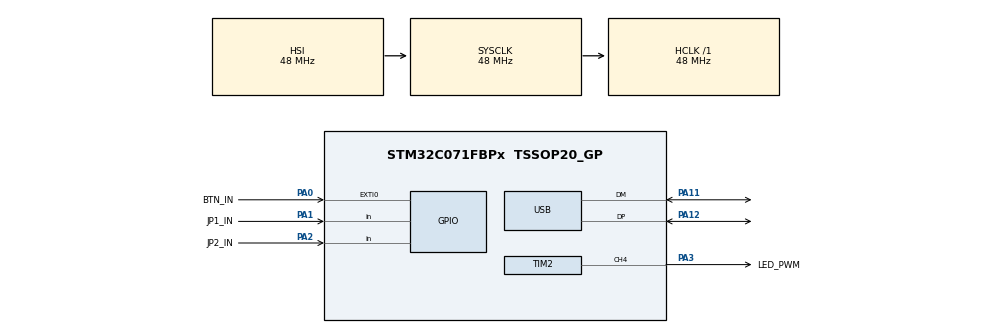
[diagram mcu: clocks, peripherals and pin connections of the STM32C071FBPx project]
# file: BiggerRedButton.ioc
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Mcu.Family=STM32C0
Mcu.Name=STM32C071FBPx
Mcu.Package=TSSOP20_GP
NVIC.EXTI0_1_IRQn=true\:0\:0\:false\:false\:true\:true\:true\:true
NVIC.USB_DRD_FS_IRQn=true\:0\:0\:false\:false\:true\:true\:true\:true
PA0.GPIO_Label=BTN_IN
PA0.GPIO_ModeDefaultEXTI=GPIO_MODE_IT_FALLING
PA0.GPIO_PuPd=GPIO_PULLUP
PA0.Signal=GPXTI0
PA1.GPIO_Label=JP1_IN
PA1.GPIO_PuPd=GPIO_PULLUP
PA1.Signal=GPIO_Input
PA11\ [PA9].Mode=Device
PA11\ [PA9].Signal=USB_DM
PA12\ [PA10].Mode=Device
PA12\ [PA10].Signal=USB_DP
PA13.Mode=Serial_Wire
PA13.Signal=DEBUG_SWDIO
PA14-BOOT0.Mode=Serial_Wire
PA14-BOOT0.Signal=DEBUG_SWCLK
PA14-BOOT0__PA15.StandardMode=true
PA2.GPIO_Label=JP2_IN
PA2.GPIO_PuPd=GPIO_PULLUP
PA2.Signal=GPIO_Input
PA3.GPIO_Label=LED_PWM
PA3.Signal=S_TIM2_CH4
PB3__PB4__PB5__PB6.StandardMode=true
PB7__PB8.StandardMode=true
ProjectManager.HeapSize=0x200
ProjectManager.StackSize=0x400
ProjectManager.TargetToolchain=CMake
RCC.ADCFreq_Value=48000000
RCC.AHBFreq_Value=48000000
RCC.CortexFreq_Value=48000000
RCC.EXTERNAL_CLOCK_VALUE=12288000
RCC.HCLKFreq_Value=48000000
RCC.HSE_VALUE=8000000
RCC.HSI48_VALUE=48000000
RCC.HSISYSCLKDivider=RCC_HSI_DIV1
RCC.HSI_VALUE=48000000
RCC.LSE_VALUE=32768
RCC.SYSCLKFreq_VALUE=48000000
SH.S_TIM2_CH4.0=TIM2_CH4,PWM Generation4 CH4
TIM2.Channel-PWM\ Generation4\ CH4=TIM_CHANNEL_4
TIM2.Period=96000
USB.VirtualMode=Device_Only
USBX.BSP.number=1
USBX.Core_System=1
USBX.USBD_PRODUCT_STRING=Big Red Button
USBX.USBX_DEVICE_SYS_SIZE=5*1024
USBX.UX_DEVICE_APP_MEM_POOL_SIZE_STANDALONE=5*1024
USBX.UX_DEVICE_HID_CORE=1
USBX.UX_DEVICE_HID_KEYBOARD=1
USBX.UX_Device_Controller=1
USBX.UX_Device_CoreStack=1
USBX0.BSP.STBoard=false
USBX0.BSP.api=Unknown
USBX0.BSP.instance=USB
USBX0.BSP.ip=USB
USBX0.BSP.mode=Device_Only
USBX0.BSP.name=USB_Device
USBX0.BSP.solution=USB
VP_TIM2_VS_ClockSourceINT.Mode=Internal
VP_USBX_Core_System.Mode=Core_System
VP_USBX_UX\ Device\ Controller_FS.Mode=UX_Device_Controller_FS
VP_USBX_UX\ Device\ CoreStack_FS.Mode=UX_Device_CoreStack_FS
VP_USBX_UX\ Device\ HID_CORE_FS.Mode=UX_Device_class_HID_CORE_FS
VP_USBX_UX\ Device\ HID_KEYBOARD_FS.Mode=UX_Device_class_HID_KEYBOARD_FS
board=custom

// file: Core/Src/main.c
/* USER CODE BEGIN Header */
/**
  ******************************************************************************
  * @file           : main.c
  * @brief          : Main program body
  ******************************************************************************
  * @attention
  *
  * Copyright (c) 2025 STMicroelectronics.
  * All rights reserved.
  *
  * This software is licensed under terms that can be found in the LICENSE file
  * in the root directory of this software component.
  * If no LICENSE file comes with this software, it is provided AS-IS.
  *
  ******************************************************************************
  */
/* USER CODE END Header */
#include "main.h"
#include "app_usbx_device.h"

TIM_HandleTypeDef htim2;

PCD_HandleTypeDef hpcd_USB_DRD_FS;

/* USER CODE BEGIN PV */
int button_pressed = 0;
/* USER CODE END PV */

void SystemClock_Config(void);
static void MX_GPIO_Init(void);
static void MX_TIM2_Init(void);
static void MX_USB_PCD_Init(void);

int main(void)
{

  /* MCU Configuration--------------------------------------------------------*/

  /* Reset of all peripherals, Initializes the Flash interface and the Systick. */
  HAL_Init();

  /* Configure the system clock */
  SystemClock_Config();

  /* Initialize all configured peripherals */
  MX_GPIO_Init();
  MX_TIM2_Init();
  MX_USB_PCD_Init();
  MX_USBX_Device_Init();
  /* USER CODE BEGIN 2 */

  const uint32_t timer_arr = __HAL_TIM_GET_AUTORELOAD(&htim2);

  // Default brightness is 2%
  const uint32_t inactive_brightness = timer_arr / 50;
  // Blink from 10% to 100%
  const uint32_t blink_low_brightness = timer_arr / 10;
  const uint32_t blink_high_brightness = timer_arr;

  __HAL_TIM_SET_COMPARE(&htim2, TIM_CHANNEL_4, inactive_brightness);

  if (HAL_TIM_PWM_Start(&htim2, TIM_CHANNEL_4) != HAL_OK) {
    Error_Handler();
  }

  UX_SLAVE_DEVICE *device;
  device = &_ux_system_slave->ux_system_slave_device;

  UX_SLAVE_CLASS_HID_EVENT hid_event;
  ux_utility_memory_set(&hid_event, 0, sizeof(UX_SLAVE_CLASS_HID_EVENT));

  // Report size is 8 bytes: modifier, reserved, and 6 keycode bytes.
  hid_event.ux_device_class_hid_event_length = 8;
  const size_t keycode_offset = 2;
  /* USER CODE END 2 */

  /* Infinite loop */
  while (1)
  {

    /* USER CODE BEGIN 3 */
    HAL_PWR_EnterSLEEPMode(PWR_MAINREGULATOR_ON, PWR_SLEEPENTRY_WFI);

    // Some event occured.
    // Button interrupt handler will set the flag.
    if (button_pressed) {
      button_pressed = 0;

      int num_blinks = 3;
      uint32_t blink_time_ms = 500;

      if ((device->ux_slave_device_state == UX_DEVICE_CONFIGURED) && (keyboard_instance != UX_NULL)) {
        // Press Enter
        hid_event.ux_device_class_hid_event_buffer[keycode_offset] = 0x28;
        ux_device_class_hid_event_set(keyboard_instance, &hid_event);

        // Hold Enter key for 50 milliseconds
        HAL_Delay(50);

        // Release Enter key
        hid_event.ux_device_class_hid_event_buffer[keycode_offset] = 0;
        ux_device_class_hid_event_set(keyboard_instance, &hid_event);
      } else {
        // Report USB error by 10 fast blinks
        num_blinks = 10;
        blink_time_ms = 200;
      }

      // Blink LED high to low brightness
      const uint32_t num_blink_steps = 100;

      for (int blink = 0; blink < num_blinks; blink++) {
        for (uint32_t i = 0; i < num_blink_steps; i++) {
          uint32_t brightness =
              blink_high_brightness -
              (blink_high_brightness - blink_low_brightness) * i / num_blink_steps;

          __HAL_TIM_SET_COMPARE(&htim2, TIM_CHANNEL_4, brightness);

          HAL_Delay(blink_time_ms / num_blink_steps);
        }
      }

      __HAL_TIM_SET_COMPARE(&htim2, TIM_CHANNEL_4, inactive_brightness);
    }
  }
  /* USER CODE END 3 */
}

void SystemClock_Config(void)
{
  RCC_OscInitTypeDef RCC_OscInitStruct = {0};
  RCC_ClkInitTypeDef RCC_ClkInitStruct = {0};

  __HAL_FLASH_SET_LATENCY(FLASH_LATENCY_1);

  /** Initializes the RCC Oscillators according to the specified parameters
  * in the RCC_OscInitTypeDef structure.
  */
  RCC_OscInitStruct.OscillatorType = RCC_OSCILLATORTYPE_HSI|RCC_OSCILLATORTYPE_HSI48;
  RCC_OscInitStruct.HSIState = RCC_HSI_ON;
  RCC_OscInitStruct.HSIDiv = RCC_HSI_DIV1;
  RCC_OscInitStruct.HSICalibrationValue = RCC_HSICALIBRATION_DEFAULT;
  RCC_OscInitStruct.HSI48State = RCC_HSI48_ON;

  if (HAL_RCC_OscConfig(&RCC_OscInitStruct) != HAL_OK)
  {
    Error_Handler();
  }

  /** Initializes the CPU, AHB and APB buses clocks
  */
  RCC_ClkInitStruct.ClockType = RCC_CLOCKTYPE_HCLK|RCC_CLOCKTYPE_SYSCLK
                              |RCC_CLOCKTYPE_PCLK1;
  RCC_ClkInitStruct.SYSCLKSource = RCC_SYSCLKSOURCE_HSI;
  RCC_ClkInitStruct.SYSCLKDivider = RCC_SYSCLK_DIV1;
  RCC_ClkInitStruct.AHBCLKDivider = RCC_HCLK_DIV1;
  RCC_ClkInitStruct.APB1CLKDivider = RCC_APB1_DIV1;

  if (HAL_RCC_ClockConfig(&RCC_ClkInitStruct, FLASH_LATENCY_1) != HAL_OK)
  {
    Error_Handler();
  }
}

static void MX_TIM2_Init(void)
{

  TIM_ClockConfigTypeDef sClockSourceConfig = {0};
  TIM_MasterConfigTypeDef sMasterConfig = {0};
  TIM_OC_InitTypeDef sConfigOC = {0};

  htim2.Instance = TIM2;
  htim2.Init.Prescaler = 0;
  htim2.Init.CounterMode = TIM_COUNTERMODE_UP;
  htim2.Init.Period = 96000;
  htim2.Init.ClockDivision = TIM_CLOCKDIVISION_DIV1;
  htim2.Init.AutoReloadPreload = TIM_AUTORELOAD_PRELOAD_DISABLE;
  if (HAL_TIM_Base_Init(&htim2) != HAL_OK)
  {
    Error_Handler();
  }
  sClockSourceConfig.ClockSource = TIM_CLOCKSOURCE_INTERNAL;
  if (HAL_TIM_ConfigClockSource(&htim2, &sClockSourceConfig) != HAL_OK)
  {
    Error_Handler();
  }
  if (HAL_TIM_PWM_Init(&htim2) != HAL_OK)
  {
    Error_Handler();
  }
  sMasterConfig.MasterOutputTrigger = TIM_TRGO_RESET;
  sMasterConfig.MasterSlaveMode = TIM_MASTERSLAVEMODE_DISABLE;
  if (HAL_TIMEx_MasterConfigSynchronization(&htim2, &sMasterConfig) != HAL_OK)
  {
    Error_Handler();
  }
  sConfigOC.OCMode = TIM_OCMODE_PWM1;
  sConfigOC.Pulse = 0;
  sConfigOC.OCPolarity = TIM_OCPOLARITY_HIGH;
  sConfigOC.OCFastMode = TIM_OCFAST_DISABLE;
  if (HAL_TIM_PWM_ConfigChannel(&htim2, &sConfigOC, TIM_CHANNEL_4) != HAL_OK)
  {
    Error_Handler();
  }
  HAL_TIM_MspPostInit(&htim2);

}

static void MX_USB_PCD_Init(void)
{

  hpcd_USB_DRD_FS.Instance = USB_DRD_FS;
  hpcd_USB_DRD_FS.Init.dev_endpoints = 8;
  hpcd_USB_DRD_FS.Init.speed = USBD_FS_SPEED;
  hpcd_USB_DRD_FS.Init.phy_itface = PCD_PHY_EMBEDDED;
  hpcd_USB_DRD_FS.Init.Sof_enable = DISABLE;
  hpcd_USB_DRD_FS.Init.low_power_enable = DISABLE;
  hpcd_USB_DRD_FS.Init.lpm_enable = DISABLE;
  hpcd_USB_DRD_FS.Init.battery_charging_enable = DISABLE;
  hpcd_USB_DRD_FS.Init.vbus_sensing_enable = DISABLE;
  hpcd_USB_DRD_FS.Init.bulk_doublebuffer_enable = DISABLE;
  hpcd_USB_DRD_FS.Init.iso_singlebuffer_enable = DISABLE;
  if (HAL_PCD_Init(&hpcd_USB_DRD_FS) != HAL_OK)
  {
    Error_Handler();
  }

}

static void MX_GPIO_Init(void)
{
  GPIO_InitTypeDef GPIO_InitStruct = {0};

  /* GPIO Ports Clock Enable */
  __HAL_RCC_GPIOA_CLK_ENABLE();

  /*Configure GPIO pin : BTN_IN_Pin */
  GPIO_InitStruct.Pin = BTN_IN_Pin;
  GPIO_InitStruct.Mode = GPIO_MODE_IT_FALLING;
  GPIO_InitStruct.Pull = GPIO_PULLUP;
  HAL_GPIO_Init(BTN_IN_GPIO_Port, &GPIO_InitStruct);

  /*Configure GPIO pins : JP1_IN_Pin JP2_IN_Pin */
  GPIO_InitStruct.Pin = JP1_IN_Pin|JP2_IN_Pin;
  GPIO_InitStruct.Mode = GPIO_MODE_INPUT;
  GPIO_InitStruct.Pull = GPIO_PULLUP;
  HAL_GPIO_Init(GPIOA, &GPIO_InitStruct);

  /* EXTI interrupt init*/
  HAL_NVIC_SetPriority(EXTI0_1_IRQn, 0, 0);
  HAL_NVIC_EnableIRQ(EXTI0_1_IRQn);

}

/* USER CODE BEGIN 4 */

void HAL_GPIO_EXTI_Falling_Callback(uint16_t GPIO_Pin) {
  if (GPIO_Pin == BTN_IN_Pin) {
    button_pressed = 1;
  }
}
/* USER CODE END 4 */

void Error_Handler(void)
{
  __disable_irq();
  while (1)
  {
  }
}
